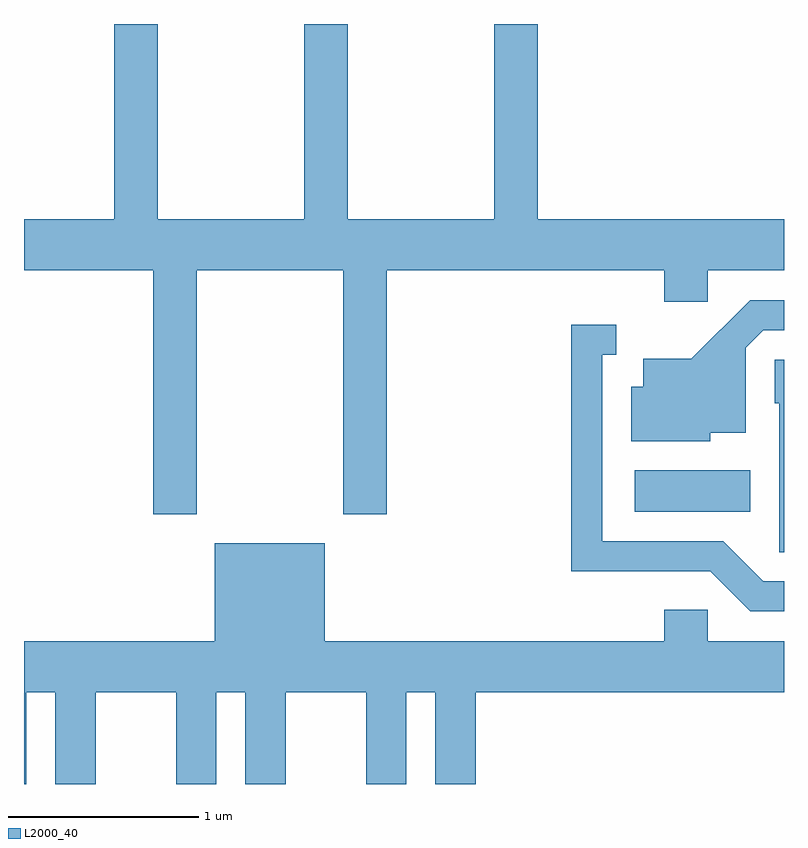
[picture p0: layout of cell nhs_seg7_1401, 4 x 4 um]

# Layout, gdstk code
import gdstk
lib = gdstk.Library(unit=1e-6, precision=1e-09)
def R(c, l, rs):  # rectangles x0, y0, x1, y1
    for r in rs: c.add(gdstk.rectangle(r[:2], r[2:], *l))
def P(c, l, *ps):  # polygons
    for p in ps: c.add(gdstk.Polygon(p, *l))
L2000_40 = (2000, 40)

nhs_seg7_1401 = lib.new_cell('nhs_seg7_1401')
R(nhs_seg7_1401, L2000_40, [(230.826,1739.686,231.434,1739.904)])
P(nhs_seg7_1401, L2000_40, [(228.519,1740.956),(229.291,1740.956),(229.291,1739.671),(229.519,1739.671),(229.519,1740.956),(230.981,1740.956),(230.981,1740.791),(231.209,1740.791),(231.209,1740.956),(231.611,1740.956),(231.611,1741.224),(230.314,1741.224),(230.314,1742.252),(230.086,1742.252),(230.086,1741.224),(229.314,1741.224),(229.314,1742.252),(229.086,1742.252),(229.086,1741.224),(228.314,1741.224),(228.314,1742.252),(228.086,1742.252),(228.086,1741.224),(227.611,1741.224),(227.611,1740.956),(228.291,1740.956),(228.291,1739.671),(228.519,1739.671)],
  [(231.224,1740.101),(231.409,1740.101),(231.409,1740.549),(231.502,1740.641),(231.611,1740.641),(231.611,1740.799),(231.434,1740.799),(231.124,1740.489),(230.871,1740.489),(230.871,1740.344),(230.806,1740.344),(230.806,1740.056),(231.224,1740.056)],
  [(231.611,1739.319),(231.502,1739.319),(231.292,1739.529),(230.654,1739.529),(230.654,1740.511),(230.728,1740.511),(230.728,1740.669),(230.491,1740.669),(230.491,1739.371),(231.224,1739.371),(231.434,1739.161),(231.611,1739.161)],
  [(231.611,1740.484),(231.561,1740.484),(231.561,1740.256),(231.586,1740.256),(231.586,1739.471),(231.611,1739.471)],
  [(227.624,1738.736),(227.776,1738.736),(227.776,1738.252),(227.989,1738.252),(227.989,1738.736),(228.411,1738.736),(228.411,1738.252),(228.624,1738.252),(228.624,1738.736),(228.776,1738.736),(228.776,1738.252),(228.989,1738.252),(228.989,1738.736),(229.411,1738.736),(229.411,1738.252),(229.624,1738.252),(229.624,1738.736),(229.776,1738.736),(229.776,1738.252),(229.989,1738.252),(229.989,1738.736),(231.611,1738.736),(231.611,1739.004),(231.209,1739.004),(231.209,1739.169),(230.981,1739.169),(230.981,1739.004),(229.194,1739.004),(229.194,1739.519),(228.616,1739.519),(228.616,1739.004),(227.611,1739.004),(227.611,1738.252),(227.624,1738.252)])

lib.write_gds('nhs_seg7_1401.gds')
